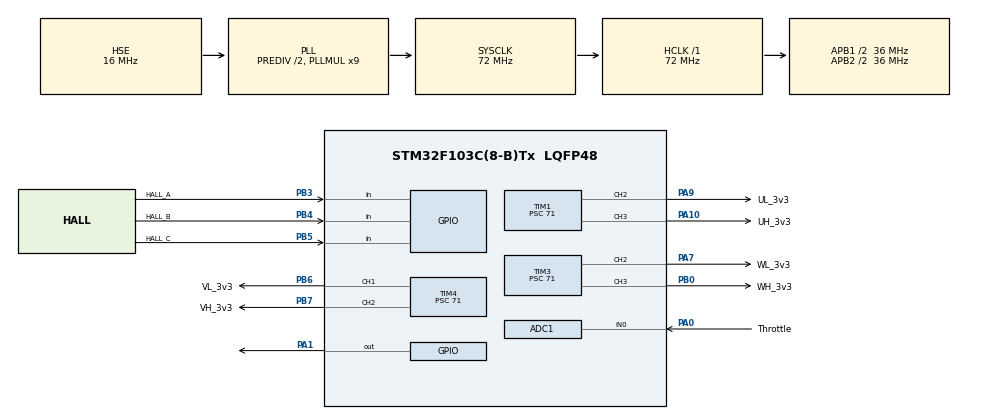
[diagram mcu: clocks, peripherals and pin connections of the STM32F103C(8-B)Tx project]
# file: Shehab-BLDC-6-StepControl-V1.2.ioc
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ADC1.Channel-0\#ChannelRegularConversion=ADC_CHANNEL_0
ADC1.ContinuousConvMode=ENABLE
ADC1.NbrOfConversionFlag=1
ADC1.Rank-0\#ChannelRegularConversion=1
ADC1.SamplingTime-0\#ChannelRegularConversion=ADC_SAMPLETIME_13CYCLES_5
ADC1.master=1
Dma.ADC1.0.Direction=DMA_PERIPH_TO_MEMORY
Dma.ADC1.0.Instance=DMA1_Channel1
Dma.ADC1.0.MemDataAlignment=DMA_MDATAALIGN_HALFWORD
Dma.ADC1.0.MemInc=DMA_MINC_ENABLE
Dma.ADC1.0.Mode=DMA_CIRCULAR
Dma.ADC1.0.PeriphDataAlignment=DMA_PDATAALIGN_HALFWORD
Dma.ADC1.0.PeriphInc=DMA_PINC_DISABLE
Dma.ADC1.0.Priority=DMA_PRIORITY_LOW
Dma.Request0=ADC1
Mcu.Family=STM32F1
Mcu.Name=STM32F103C(8-B)Tx
Mcu.Package=LQFP48
NVIC.DMA1_Channel1_IRQn=true\:0\:0\:false\:false\:true\:false\:true\:true
NVIC.PriorityGroup=NVIC_PRIORITYGROUP_4
NVIC.TIM2_IRQn=true\:0\:0\:false\:false\:true\:true\:true\:true
PA0-WKUP.GPIO_Label=Throttle
PA0-WKUP.Signal=ADCx_IN0
PA1.GPIO_Speed=GPIO_SPEED_FREQ_MEDIUM
PA1.PinState=GPIO_PIN_SET
PA1.Signal=GPIO_Output
PA10.GPIO_Label=UH_3v3
PA10.Signal=S_TIM1_CH3
PA7.GPIO_Label=WL_3v3
PA7.GPIO_Speed=GPIO_SPEED_FREQ_MEDIUM
PA7.Signal=S_TIM3_CH2
PA9.GPIO_Label=UL_3v3
PA9.GPIO_Speed=GPIO_SPEED_FREQ_MEDIUM
PA9.Signal=S_TIM1_CH2
PB0.GPIO_Label=WH_3v3
PB0.Signal=S_TIM3_CH3
PB3.GPIO_Label=HALL_A
PB3.Signal=GPIO_Input
PB4.GPIO_Label=HALL_B
PB4.Signal=GPIO_Input
PB5.GPIO_Label=HALL_C
PB5.Signal=GPIO_Input
PB6.GPIO_Label=VL_3v3
PB6.GPIO_Speed=GPIO_SPEED_FREQ_MEDIUM
PB6.Signal=S_TIM4_CH1
PB7.GPIO_Label=VH_3v3
PB7.GPIO_Speed=GPIO_SPEED_FREQ_MEDIUM
PB7.Signal=S_TIM4_CH2
PD0-OSC_IN.Mode=HSE-External-Oscillator
PD0-OSC_IN.Signal=RCC_OSC_IN
PD1-OSC_OUT.Mode=HSE-External-Oscillator
PD1-OSC_OUT.Signal=RCC_OSC_OUT
ProjectManager.HeapSize=0x200
ProjectManager.StackSize=0x400
ProjectManager.TargetToolchain=STM32CubeIDE
RCC.ADCPresc=RCC_ADCPCLK2_DIV4
RCC.AHBFreq_Value=72000000
RCC.APB1CLKDivider=RCC_HCLK_DIV2
RCC.APB1Freq_Value=36000000
RCC.APB1TimFreq_Value=72000000
RCC.APB2CLKDivider=RCC_HCLK_DIV2
RCC.APB2Freq_Value=36000000
RCC.APB2TimFreq_Value=72000000
RCC.HCLKFreq_Value=72000000
RCC.HSEDivPLL=RCC_HSE_PREDIV_DIV2
RCC.HSE_VALUE=16000000
RCC.PLLMUL=RCC_PLL_MUL9
RCC.PLLSourceVirtual=RCC_PLLSOURCE_HSE
RCC.SYSCLKFreq_VALUE=72000000
RCC.SYSCLKSource=RCC_SYSCLKSOURCE_PLLCLK
RCC.USBFreq_Value=72000000
SH.ADCx_IN0.0=ADC1_IN0,IN0
SH.S_TIM1_CH2.0=TIM1_CH2,PWM Generation2 CH2
SH.S_TIM1_CH3.0=TIM1_CH3,PWM Generation3 CH3
SH.S_TIM3_CH2.0=TIM3_CH2,PWM Generation2 CH2
SH.S_TIM3_CH3.0=TIM3_CH3,PWM Generation3 CH3
SH.S_TIM4_CH1.0=TIM4_CH1,PWM Generation1 CH1
SH.S_TIM4_CH2.0=TIM4_CH2,PWM Generation2 CH2
TIM1.AutoReloadPreload=TIM_AUTORELOAD_PRELOAD_ENABLE
TIM1.Channel-PWM\ Generation2\ CH2=TIM_CHANNEL_2
TIM1.Channel-PWM\ Generation3\ CH3=TIM_CHANNEL_3
TIM1.OCIdleState_2=TIM_OCIDLESTATE_RESET
TIM1.OCPolarity_2=TIM_OCPOLARITY_HIGH
TIM1.Period=100
TIM1.Prescaler=71
TIM2.AutoReloadPreload=TIM_AUTORELOAD_PRELOAD_ENABLE
TIM2.Period=999
TIM2.Prescaler=71
TIM3.AutoReloadPreload=TIM_AUTORELOAD_PRELOAD_ENABLE
TIM3.Channel-PWM\ Generation2\ CH2=TIM_CHANNEL_2
TIM3.Channel-PWM\ Generation3\ CH3=TIM_CHANNEL_3
TIM3.Period=100
TIM3.Prescaler=71
TIM4.AutoReloadPreload=TIM_AUTORELOAD_PRELOAD_ENABLE
TIM4.Channel-PWM\ Generation1\ CH1=TIM_CHANNEL_1
TIM4.Channel-PWM\ Generation2\ CH2=TIM_CHANNEL_2
TIM4.Period=100
TIM4.Prescaler=71
VP_SYS_VS_ND.Mode=No_Debug
VP_TIM1_VS_ClockSourceINT.Mode=Internal
VP_TIM2_VS_ClockSourceINT.Mode=Internal
VP_TIM3_VS_ClockSourceINT.Mode=Internal
VP_TIM4_VS_ClockSourceINT.Mode=Internal
board=custom

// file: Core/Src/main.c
/* USER CODE BEGIN Header */
/**
  ******************************************************************************
  * @file           : main.c
  * @author 		: ShehabMohamed
  * @brief          : Main program body
  * @version 		: 0.2
  * @date			: 2025-18-03
  * @detail			: BLDC Drive Program
  ******************************************************************************
  * @attention
  *
  * Copyright (c) 2025 STMicroelectronics.
  * All rights reserved.
  *
  * This software is licensed under terms that can be found in the LICENSE file
  * in the root directory of this software component.
  * If no LICENSE file comes with this software, it is provided AS-IS.
  *
  ******************************************************************************
  */
/* USER CODE END Header */
#include "main.h"

/* USER CODE BEGIN Includes */
#include "SpeedModule.h"
#include "Throttle.h"
/* USER CODE END Includes */

/* USER CODE BEGIN PTD */
	/**
	 * @typedef EXTI_CallBack_t
	 * @brief Configure any variable to be pointer to function .
	 */
	typedef void(*EXTI_CallBack_t)(void);//Global Pointer to function Data Type
/* USER CODE END PTD */

/* USER CODE BEGIN PD */
#define PwmPeriod		100
#define HALL_OverSample 	3
		/**
			 * @def TIM_DELAY
			 * @brief Control the wait state between steps
			 * @note change in this control the motor speed and torque
			 */
	#define TIM_DELAY	1

/* USER CODE END PD */

ADC_HandleTypeDef hadc1;
DMA_HandleTypeDef hdma_adc1;

TIM_HandleTypeDef htim1;
TIM_HandleTypeDef htim2;
TIM_HandleTypeDef htim3;
TIM_HandleTypeDef htim4;

/* USER CODE BEGIN PV */
volatile uint32_t microTicks = 0;
float MotorSpeedRpm=0;
float MotorSpeedKmh=0;
extern uint32_t PulsesPerInterval;
/**
	 * @var     :PrevMotorStep
	 * @brief   :Global variable storing Previous step of the motor .
	 * @warning :Do not modify this value directly.
	 * @Type    :uint8_t
	 */
	uint8_t PrevMotorStep;
		/**
		 * @var     :MotorStep
		 * @brief   :Global variable storing Motor step .
		 * @warning :Do not modify this value directly.
		 * @Type    :uint8_t
		 */
	uint8_t MotorStep;

	EXTI_CallBack_t USER_CallBack=NULL;//GlobalPointerToFunction

/* USER CODE END PV */

void SystemClock_Config(void);
static void MX_GPIO_Init(void);
static void MX_DMA_Init(void);
static void MX_ADC1_Init(void);
static void MX_TIM1_Init(void);
static void MX_TIM3_Init(void);
static void MX_TIM4_Init(void);
static void MX_TIM2_Init(void);
/* USER CODE BEGIN PFP */
void RegisterCallBack(EXTI_CallBack_t Function);

void WaitState(void);
void NextStep(void);
void HallState(void);

void Delay_us(uint16_t DELAY);
void Delay_ms(uint16_t DELAY);
void Delay_ms_NB(uint32_t DelayMs, uint32_t *start_tick);

/* USER CODE END PFP */

int main(void)
{

  /* MCU Configuration--------------------------------------------------------*/

  /* Reset of all peripherals, Initializes the Flash interface and the Systick. */
  HAL_Init();

  /* Configure the system clock */
  SystemClock_Config();

  /* Initialize all configured peripherals */
  MX_GPIO_Init();
  MX_DMA_Init();
  MX_ADC1_Init();
  MX_TIM1_Init();
  MX_TIM3_Init();
  MX_TIM4_Init();
  MX_TIM2_Init();
  /* USER CODE BEGIN 2 */

  	  	Throttle_Init(&hadc1);

     	 HAL_TIM_Base_Start_IT(&htim2);

       /*******************************************************************///A-Driving
       HAL_TIM_PWM_Start(&htim1, TIM_CHANNEL_3);//TIMER1 1->2//PA10
       HAL_TIM_PWM_Start(&htim1, TIM_CHANNEL_2);//TIMER1 1->2//PA9
       /*******************************************************************///B-Driving
       HAL_TIM_PWM_Start(&htim3, TIM_CHANNEL_2);//TIMER3 1->4//PA7
       HAL_TIM_PWM_Start(&htim3, TIM_CHANNEL_3);//TIMER3 1->4//PB0
       /*******************************************************************///C-Driving
       HAL_TIM_PWM_Start(&htim4, TIM_CHANNEL_1);//TIMER4 1->4//PB6
       HAL_TIM_PWM_Start(&htim4, TIM_CHANNEL_2);//TIMER4 1->4//PB7

  /* USER CODE END 2 */

  /* Infinite loop */
  /* USER CODE BEGIN WHILE */
  while (1)
  {
		Throttle_Update();
		HallState();

    /* USER CODE END WHILE */

  }
}

void SystemClock_Config(void)
{
  RCC_OscInitTypeDef RCC_OscInitStruct = {0};
  RCC_ClkInitTypeDef RCC_ClkInitStruct = {0};
  RCC_PeriphCLKInitTypeDef PeriphClkInit = {0};

  /** Initializes the RCC Oscillators according to the specified parameters
  * in the RCC_OscInitTypeDef structure.
  */
  RCC_OscInitStruct.OscillatorType = RCC_OSCILLATORTYPE_HSE;
  RCC_OscInitStruct.HSEState = RCC_HSE_ON;
  RCC_OscInitStruct.HSEPredivValue = RCC_HSE_PREDIV_DIV2;
  RCC_OscInitStruct.HSIState = RCC_HSI_ON;
  RCC_OscInitStruct.PLL.PLLState = RCC_PLL_ON;
  RCC_OscInitStruct.PLL.PLLSource = RCC_PLLSOURCE_HSE;
  RCC_OscInitStruct.PLL.PLLMUL = RCC_PLL_MUL9;
  if (HAL_RCC_OscConfig(&RCC_OscInitStruct) != HAL_OK)
  {
    Error_Handler();
  }

  /** Initializes the CPU, AHB and APB buses clocks
  */
  RCC_ClkInitStruct.ClockType = RCC_CLOCKTYPE_HCLK|RCC_CLOCKTYPE_SYSCLK
                              |RCC_CLOCKTYPE_PCLK1|RCC_CLOCKTYPE_PCLK2;
  RCC_ClkInitStruct.SYSCLKSource = RCC_SYSCLKSOURCE_PLLCLK;
  RCC_ClkInitStruct.AHBCLKDivider = RCC_SYSCLK_DIV1;
  RCC_ClkInitStruct.APB1CLKDivider = RCC_HCLK_DIV2;
  RCC_ClkInitStruct.APB2CLKDivider = RCC_HCLK_DIV2;

  if (HAL_RCC_ClockConfig(&RCC_ClkInitStruct, FLASH_LATENCY_2) != HAL_OK)
  {
    Error_Handler();
  }
  PeriphClkInit.PeriphClockSelection = RCC_PERIPHCLK_ADC;
  PeriphClkInit.AdcClockSelection = RCC_ADCPCLK2_DIV4;
  if (HAL_RCCEx_PeriphCLKConfig(&PeriphClkInit) != HAL_OK)
  {
    Error_Handler();
  }
}

static void MX_ADC1_Init(void)
{

  ADC_ChannelConfTypeDef sConfig = {0};

  /** Common config
  */
  hadc1.Instance = ADC1;
  hadc1.Init.ScanConvMode = ADC_SCAN_DISABLE;
  hadc1.Init.ContinuousConvMode = ENABLE;
  hadc1.Init.DiscontinuousConvMode = DISABLE;
  hadc1.Init.ExternalTrigConv = ADC_SOFTWARE_START;
  hadc1.Init.DataAlign = ADC_DATAALIGN_RIGHT;
  hadc1.Init.NbrOfConversion = 1;
  if (HAL_ADC_Init(&hadc1) != HAL_OK)
  {
    Error_Handler();
  }

  /** Configure Regular Channel
  */
  sConfig.Channel = ADC_CHANNEL_0;
  sConfig.Rank = ADC_REGULAR_RANK_1;
  sConfig.SamplingTime = ADC_SAMPLETIME_13CYCLES_5;
  if (HAL_ADC_ConfigChannel(&hadc1, &sConfig) != HAL_OK)
  {
    Error_Handler();
  }

}

static void MX_TIM1_Init(void)
{

  TIM_ClockConfigTypeDef sClockSourceConfig = {0};
  TIM_MasterConfigTypeDef sMasterConfig = {0};
  TIM_OC_InitTypeDef sConfigOC = {0};
  TIM_BreakDeadTimeConfigTypeDef sBreakDeadTimeConfig = {0};

  htim1.Instance = TIM1;
  htim1.Init.Prescaler = 71;
  htim1.Init.CounterMode = TIM_COUNTERMODE_UP;
  htim1.Init.Period = 100;
  htim1.Init.ClockDivision = TIM_CLOCKDIVISION_DIV1;
  htim1.Init.RepetitionCounter = 0;
  htim1.Init.AutoReloadPreload = TIM_AUTORELOAD_PRELOAD_ENABLE;
  if (HAL_TIM_Base_Init(&htim1) != HAL_OK)
  {
    Error_Handler();
  }
  sClockSourceConfig.ClockSource = TIM_CLOCKSOURCE_INTERNAL;
  if (HAL_TIM_ConfigClockSource(&htim1, &sClockSourceConfig) != HAL_OK)
  {
    Error_Handler();
  }
  if (HAL_TIM_PWM_Init(&htim1) != HAL_OK)
  {
    Error_Handler();
  }
  sMasterConfig.MasterOutputTrigger = TIM_TRGO_RESET;
  sMasterConfig.MasterSlaveMode = TIM_MASTERSLAVEMODE_DISABLE;
  if (HAL_TIMEx_MasterConfigSynchronization(&htim1, &sMasterConfig) != HAL_OK)
  {
    Error_Handler();
  }
  sConfigOC.OCMode = TIM_OCMODE_PWM1;
  sConfigOC.Pulse = 0;
  sConfigOC.OCPolarity = TIM_OCPOLARITY_HIGH;
  sConfigOC.OCNPolarity = TIM_OCNPOLARITY_HIGH;
  sConfigOC.OCFastMode = TIM_OCFAST_DISABLE;
  sConfigOC.OCIdleState = TIM_OCIDLESTATE_RESET;
  sConfigOC.OCNIdleState = TIM_OCNIDLESTATE_RESET;
  if (HAL_TIM_PWM_ConfigChannel(&htim1, &sConfigOC, TIM_CHANNEL_2) != HAL_OK)
  {
    Error_Handler();
  }
  if (HAL_TIM_PWM_ConfigChannel(&htim1, &sConfigOC, TIM_CHANNEL_3) != HAL_OK)
  {
    Error_Handler();
  }
  sBreakDeadTimeConfig.OffStateRunMode = TIM_OSSR_DISABLE;
  sBreakDeadTimeConfig.OffStateIDLEMode = TIM_OSSI_DISABLE;
  sBreakDeadTimeConfig.LockLevel = TIM_LOCKLEVEL_OFF;
  sBreakDeadTimeConfig.DeadTime = 0;
  sBreakDeadTimeConfig.BreakState = TIM_BREAK_DISABLE;
  sBreakDeadTimeConfig.BreakPolarity = TIM_BREAKPOLARITY_HIGH;
  sBreakDeadTimeConfig.AutomaticOutput = TIM_AUTOMATICOUTPUT_DISABLE;
  if (HAL_TIMEx_ConfigBreakDeadTime(&htim1, &sBreakDeadTimeConfig) != HAL_OK)
  {
    Error_Handler();
  }
  HAL_TIM_MspPostInit(&htim1);

}

static void MX_TIM2_Init(void)
{

  TIM_ClockConfigTypeDef sClockSourceConfig = {0};
  TIM_MasterConfigTypeDef sMasterConfig = {0};

  htim2.Instance = TIM2;
  htim2.Init.Prescaler = 71;
  htim2.Init.CounterMode = TIM_COUNTERMODE_UP;
  htim2.Init.Period = 999;
  htim2.Init.ClockDivision = TIM_CLOCKDIVISION_DIV1;
  htim2.Init.AutoReloadPreload = TIM_AUTORELOAD_PRELOAD_ENABLE;
  if (HAL_TIM_Base_Init(&htim2) != HAL_OK)
  {
    Error_Handler();
  }
  sClockSourceConfig.ClockSource = TIM_CLOCKSOURCE_INTERNAL;
  if (HAL_TIM_ConfigClockSource(&htim2, &sClockSourceConfig) != HAL_OK)
  {
    Error_Handler();
  }
  sMasterConfig.MasterOutputTrigger = TIM_TRGO_RESET;
  sMasterConfig.MasterSlaveMode = TIM_MASTERSLAVEMODE_DISABLE;
  if (HAL_TIMEx_MasterConfigSynchronization(&htim2, &sMasterConfig) != HAL_OK)
  {
    Error_Handler();
  }

}

static void MX_TIM3_Init(void)
{

  TIM_ClockConfigTypeDef sClockSourceConfig = {0};
  TIM_MasterConfigTypeDef sMasterConfig = {0};
  TIM_OC_InitTypeDef sConfigOC = {0};

  htim3.Instance = TIM3;
  htim3.Init.Prescaler = 71;
  htim3.Init.CounterMode = TIM_COUNTERMODE_UP;
  htim3.Init.Period = 100;
  htim3.Init.ClockDivision = TIM_CLOCKDIVISION_DIV1;
  htim3.Init.AutoReloadPreload = TIM_AUTORELOAD_PRELOAD_ENABLE;
  if (HAL_TIM_Base_Init(&htim3) != HAL_OK)
  {
    Error_Handler();
  }
  sClockSourceConfig.ClockSource = TIM_CLOCKSOURCE_INTERNAL;
  if (HAL_TIM_ConfigClockSource(&htim3, &sClockSourceConfig) != HAL_OK)
  {
    Error_Handler();
  }
  if (HAL_TIM_PWM_Init(&htim3) != HAL_OK)
  {
    Error_Handler();
  }
  sMasterConfig.MasterOutputTrigger = TIM_TRGO_RESET;
  sMasterConfig.MasterSlaveMode = TIM_MASTERSLAVEMODE_DISABLE;
  if (HAL_TIMEx_MasterConfigSynchronization(&htim3, &sMasterConfig) != HAL_OK)
  {
    Error_Handler();
  }
  sConfigOC.OCMode = TIM_OCMODE_PWM1;
  sConfigOC.Pulse = 0;
  sConfigOC.OCPolarity = TIM_OCPOLARITY_HIGH;
  sConfigOC.OCFastMode = TIM_OCFAST_DISABLE;
  if (HAL_TIM_PWM_ConfigChannel(&htim3, &sConfigOC, TIM_CHANNEL_2) != HAL_OK)
  {
    Error_Handler();
  }
  if (HAL_TIM_PWM_ConfigChannel(&htim3, &sConfigOC, TIM_CHANNEL_3) != HAL_OK)
  {
    Error_Handler();
  }
  HAL_TIM_MspPostInit(&htim3);

}

static void MX_TIM4_Init(void)
{

  TIM_ClockConfigTypeDef sClockSourceConfig = {0};
  TIM_MasterConfigTypeDef sMasterConfig = {0};
  TIM_OC_InitTypeDef sConfigOC = {0};

  htim4.Instance = TIM4;
  htim4.Init.Prescaler = 71;
  htim4.Init.CounterMode = TIM_COUNTERMODE_UP;
  htim4.Init.Period = 100;
  htim4.Init.ClockDivision = TIM_CLOCKDIVISION_DIV1;
  htim4.Init.AutoReloadPreload = TIM_AUTORELOAD_PRELOAD_ENABLE;
  if (HAL_TIM_Base_Init(&htim4) != HAL_OK)
  {
    Error_Handler();
  }
  sClockSourceConfig.ClockSource = TIM_CLOCKSOURCE_INTERNAL;
  if (HAL_TIM_ConfigClockSource(&htim4, &sClockSourceConfig) != HAL_OK)
  {
    Error_Handler();
  }
  if (HAL_TIM_PWM_Init(&htim4) != HAL_OK)
  {
    Error_Handler();
  }
  sMasterConfig.MasterOutputTrigger = TIM_TRGO_RESET;
  sMasterConfig.MasterSlaveMode = TIM_MASTERSLAVEMODE_DISABLE;
  if (HAL_TIMEx_MasterConfigSynchronization(&htim4, &sMasterConfig) != HAL_OK)
  {
    Error_Handler();
  }
  sConfigOC.OCMode = TIM_OCMODE_PWM1;
  sConfigOC.Pulse = 0;
  sConfigOC.OCPolarity = TIM_OCPOLARITY_HIGH;
  sConfigOC.OCFastMode = TIM_OCFAST_DISABLE;
  if (HAL_TIM_PWM_ConfigChannel(&htim4, &sConfigOC, TIM_CHANNEL_1) != HAL_OK)
  {
    Error_Handler();
  }
  if (HAL_TIM_PWM_ConfigChannel(&htim4, &sConfigOC, TIM_CHANNEL_2) != HAL_OK)
  {
    Error_Handler();
  }
  HAL_TIM_MspPostInit(&htim4);

}

static void MX_DMA_Init(void)
{

  /* DMA controller clock enable */
  __HAL_RCC_DMA1_CLK_ENABLE();

  /* DMA interrupt init */
  /* DMA1_Channel1_IRQn interrupt configuration */
  HAL_NVIC_SetPriority(DMA1_Channel1_IRQn, 0, 0);
  HAL_NVIC_EnableIRQ(DMA1_Channel1_IRQn);

}

static void MX_GPIO_Init(void)
{
  GPIO_InitTypeDef GPIO_InitStruct = {0};

  /* GPIO Ports Clock Enable */
  __HAL_RCC_GPIOD_CLK_ENABLE();
  __HAL_RCC_GPIOA_CLK_ENABLE();
  __HAL_RCC_GPIOB_CLK_ENABLE();

  /*Configure GPIO pin Output Level */
  HAL_GPIO_WritePin(GPIOA, GPIO_PIN_1, GPIO_PIN_SET);

  /*Configure GPIO pin : PA1 */
  GPIO_InitStruct.Pin = GPIO_PIN_1;
  GPIO_InitStruct.Mode = GPIO_MODE_OUTPUT_PP;
  GPIO_InitStruct.Pull = GPIO_NOPULL;
  GPIO_InitStruct.Speed = GPIO_SPEED_FREQ_MEDIUM;
  HAL_GPIO_Init(GPIOA, &GPIO_InitStruct);

  /*Configure GPIO pins : HALL_A_Pin HALL_B_Pin HALL_C_Pin */
  GPIO_InitStruct.Pin = HALL_A_Pin|HALL_B_Pin|HALL_C_Pin;
  GPIO_InitStruct.Mode = GPIO_MODE_INPUT;
  GPIO_InitStruct.Pull = GPIO_NOPULL;
  HAL_GPIO_Init(GPIOB, &GPIO_InitStruct);

}

/* USER CODE BEGIN 4 */
/*	@Fun   			:RegisterCallBack
 * 	@brief 			:the function take address of call back function to assign it in global pointer to function
 * 	@parameter[in] 	:Function carry the address of the called back function
 * 	@return			:void
 *
 */
void 		RegisterCallBack(EXTI_CallBack_t Function)
{
	USER_CallBack=Function;
}

/*	@Fun   			:HallState
 * 	@brief 			:the function select the motor step according to the hall sensor reads
 * 	@parameter[in] 	:void
 * 	@return			:void
 *
 */
void HallState(void)//Need To be run after few us
{

	uint8_t HallCounts[]={0,0,0};
	for (uint8_t i=0;i<HALL_OverSample;i++)
	{
		HallCounts[0]+=HAL_GPIO_ReadPin(GPIOB, GPIO_PIN_3);
		HallCounts[1]+=HAL_GPIO_ReadPin(GPIOB, GPIO_PIN_4);
		HallCounts[2]+=HAL_GPIO_ReadPin(GPIOB, GPIO_PIN_5);
	}
	uint8_t hall=0;
	if(HallCounts[0]>=HALL_OverSample/2)
		hall|=(1<<0);
	if(HallCounts[1]>=HALL_OverSample/2)
		hall|=(1<<1);
	if(HallCounts[2]>=HALL_OverSample/2)
		hall|=(1<<2);
	hall&=0x7;
	PrevMotorStep=MotorStep;

	switch (hall)
	{
		case 3://011
			MotorStep=0;
		break;

		case 2://010
			MotorStep=1;
		break;

		case 6://110
			MotorStep=2;
		break;

		case 4://100
			MotorStep=3;
		break;

		case 5 ://101
			MotorStep=4;
		break;

		case 1://001
			MotorStep=5;
		break;

		case 7 ://Invalid cases
		case 0:	//Invalid cases
			MotorStep=6;
		break;

	}
	NextStep();

}
/*	@Fun   			:NextStep
 * 	@brief 			:the function give the signals to drive the gate drivers according to the motor step that comes from hall sensors
 * 	@parameter[in] 	:void
 * 	@return			:void
 *
 */
void NextStep(void)
{
	/*******************************************************************///U-Driving
	//TIM1->CCR3---u+
	//TIM1->CCR2---u-
	/*******************************************************************///V-Driving
	//TIM4->CCR2---v+
	//TIM4->CCR1---v-
	/*******************************************************************///W-Driving
	//TIM3->CCR3---w+
	//TIM3->CCR2---w-
	/*******************************************************************/
	WaitState();/*before changing the state checks if the state already change or not
if yes that means the motor does electric change and also should do delay between the state changes
if no that means
no pulse generated and doesnt need to wait between state changes  */
	switch (MotorStep)
	{
	case 0://011

		/*******************************************************************///U-Driving
		TIM1->CCR3=0;//u+
		TIM1->CCR2=0;//u-
		/*******************************************************************///V-Driving
		TIM4->CCR2=DutyCycle;//v+
		TIM4->CCR1=0;//v-
		/*******************************************************************///W-Driving
		TIM3->CCR3=0;//w+
		TIM3->CCR2=DutyCycle;//w-
		/*******************************************************************/
	break;

	case 1://010

		/*******************************************************************///U-Driving
		TIM1->CCR3=0;//u+
		TIM1->CCR2=DutyCycle;//u-
		/*******************************************************************///V-Driving
		TIM4->CCR2=DutyCycle;//v+
		TIM4->CCR1=0;//v-
		/*******************************************************************///W-Driving
		TIM3->CCR3=0;//w+
		TIM3->CCR2=0;//w-
		/*******************************************************************/

	break;

	case 2://110

		/*******************************************************************///U-Driving
		TIM1->CCR3=0;//u+
		TIM1->CCR2=DutyCycle;//u-
		/*******************************************************************///V-Driving
		TIM4->CCR2=0;//v+
		TIM4->CCR1=0;//v-
		/*******************************************************************///W-Driving
		TIM3->CCR3=DutyCycle;//w+
		TIM3->CCR2=0;//w-
		/*******************************************************************/
	break;

	case 3://100
		/*******************************************************************///U-Driving
		TIM1->CCR3=0;//u+
		TIM1->CCR2=0;//u-
		/*******************************************************************///V-Driving
		TIM4->CCR2=0;//v+
		TIM4->CCR1=DutyCycle;//v-
		/*******************************************************************///W-Driving
		TIM3->CCR3=DutyCycle;//w+
		TIM3->CCR2=0;//w-
		/*******************************************************************/

	break;

	case 4://101
		/*******************************************************************///U-Driving
		TIM1->CCR3=DutyCycle;//u+
		TIM1->CCR2=0;//u-
		/*******************************************************************///V-Driving
		TIM4->CCR2=0;//v+
		TIM4->CCR1=DutyCycle;//v-
		/*******************************************************************///W-Driving
		TIM3->CCR3=0;//w+
		TIM3->CCR2=0;//w-
		/*******************************************************************/
	break;

	case 5://001
		/*******************************************************************///U-Driving
		TIM1->CCR3=DutyCycle;//u+
		TIM1->CCR2=0;//u-
		/*******************************************************************///V-Driving
		TIM4->CCR2=0;//v+
		TIM4->CCR1=0;//v-
		/*******************************************************************///W-Driving
		TIM3->CCR3=0;//w+
		TIM3->CCR2=DutyCycle;//w-
	/*******************************************************************/
		break;
	case 6:
		/*******************************************************************///U-Driving
				TIM1->CCR3=0;//u+
				TIM1->CCR2=0;//u-
				/*******************************************************************///V-Driving
				TIM4->CCR2=0;//v+
				TIM4->CCR1=0;//v-
				/*******************************************************************///W-Driving
				TIM3->CCR3=0;//w+
				TIM3->CCR2=0;//w-
			/*******************************************************************/
	break;

	}

}
/*	@Fun   			:WaitState
 * 	@brief 			:the function force the pwm to halt for a specific off time this control the power of motor and speed
 * 	@parameter[in] 	:void
 * 	@return			:void
 *
 */
void WaitState(void)
{

	/*******************************************************************///U-Driving
		//TIM1->CCR3---u+
		//TIM1->CCR2---u-
		/*******************************************************************///V-Driving
		//TIM4->CCR2---v+
		//TIM4->CCR1---v-
		/*******************************************************************///W-Driving
		//TIM3->CCR3---w+
		//TIM3->CCR2---w-
		/*******************************************************************/
	//Speed Calculate Mechanism
		if(PrevMotorStep!=MotorStep)
		{
			PulsesPerInterval++;

			switch(MotorStep)
			{
					case 0:
						// A-Driving → U
						TIM1->CCR3 = 0;
						TIM1->CCR2 = 0;
						// B-Driving → V
						TIM4->CCR2 = DutyCycle;
						TIM4->CCR1 = 0;
						// C-Driving → W
						TIM3->CCR3 = 0;
						TIM3->CCR2 = 0;
					break;

					case 1:
						// A-Driving → U
						TIM1->CCR3 = 0;
						TIM1->CCR2 = DutyCycle;
						// B-Driving → V
						TIM4->CCR2 = 0;
						TIM4->CCR1 = 0;
						// C-Driving → W
						TIM3->CCR3 = 0;
						TIM3->CCR2 = 0;
					break;

					case 2:
						// A-Driving → U
						TIM1->CCR3 = 0;
						TIM1->CCR2 = 0;
						// B-Driving → V
						TIM4->CCR2 = 0;
						TIM4->CCR1 = 0;
						// C-Driving → W
						TIM3->CCR3 = DutyCycle;
						TIM3->CCR2 = 0;
					break;

					case 3:
						// A-Driving → U
						TIM1->CCR3 = 0;
						TIM1->CCR2 = 0;
						// B-Driving → V
						TIM4->CCR2 = 0;
						TIM4->CCR1 = DutyCycle;
						// C-Driving → W
						TIM3->CCR3 = 0;
						TIM3->CCR2 = 0;
					break;

					case 4:
						// A-Driving → U
						TIM1->CCR3 = DutyCycle;
						TIM1->CCR2 = 0;
						// B-Driving → V
						TIM4->CCR2 = 0;
						TIM4->CCR1 = 0;
						// C-Driving → W
						TIM3->CCR3 = 0;
						TIM3->CCR2 = 0;
					break;

					case 5:
						// A-Driving → U
						TIM1->CCR3 = 0;
						TIM1->CCR2 = 0;
						// B-Driving → V
						TIM4->CCR2 = 0;
						TIM4->CCR1 = 0;
						// C-Driving → W
						TIM3->CCR3 = 0;
						TIM3->CCR2 = DutyCycle;
					break;

					default:
						TIM1->CCR3 = 0;
						TIM1->CCR2 = 0;
						TIM4->CCR2 = 0;
						TIM4->CCR1 = 0;
						TIM3->CCR3 = 0;
						TIM3->CCR2 = 0;
					break;
				}

			Delay_us(TIM_DELAY);
		}
		else
		{

		}
		PrevMotorStep = MotorStep;

}

void Delay_us(uint16_t DELAY)
{
    __HAL_TIM_SET_COUNTER(&htim2, 0);
    while(__HAL_TIM_GET_COUNTER(&htim2) < DELAY);
}

void 		Delay_ms		(uint16_t DELAY)
{

	for (uint16_t Counter=0;Counter<DELAY;Counter++)
	{
		Delay_us(1000);
	}

}
// Delay non-blocking ms
void Delay_ms_NB(uint32_t DelayMs, uint32_t *start_tick)
{
    // start_tick = 0
    if(*start_tick == 0)
        *start_tick = microTicks;

    if((microTicks - *start_tick) >= DelayMs)
        *start_tick = 0; // reset
}

/**
  * @brief This function handles TIM2 global interrupt.
  */
void TIM2_IRQHandler(void)
{
  /* USER CODE BEGIN TIM2_IRQn 0 */

  /* USER CODE END TIM2_IRQn 0 */
   HAL_TIM_IRQHandler(&htim2);
  /* USER CODE BEGIN TIM2_IRQn 1 */

  /* USER CODE END TIM2_IRQn 1 */
}

void HAL_TIM_PeriodElapsedCallback(TIM_HandleTypeDef *htim)
{
    if(htim->Instance == TIM2)
    {
        microTicks++; // كل 1ms

        if(microTicks % 200 == 0) // كل 200ms
        {
            SpeedCalculation(&MotorSpeedRpm, &MotorSpeedKmh);
            PulsesPerInterval = 0;
        }
    }
}
/* USER CODE END 4 */

void Error_Handler(void)
{
  __disable_irq();
  while (1)
  {
  }
}
